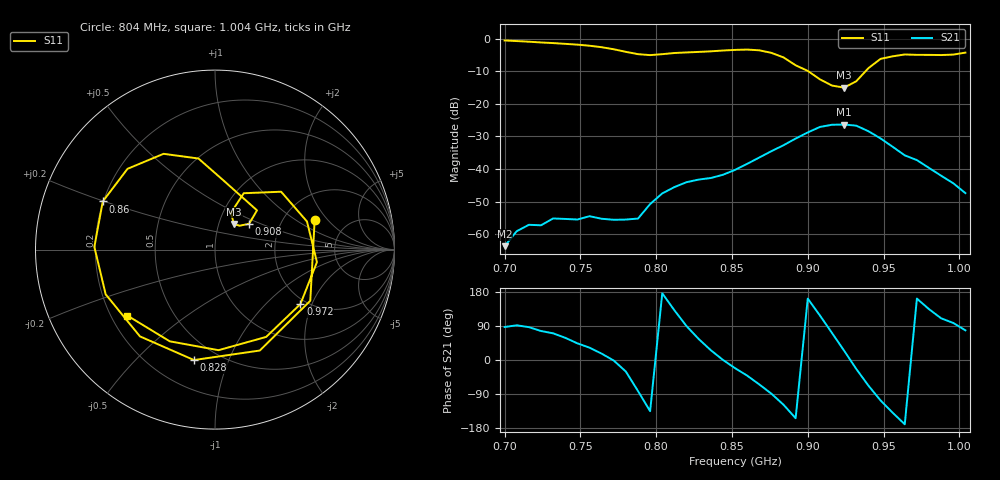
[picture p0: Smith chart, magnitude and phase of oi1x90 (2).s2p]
# Hz S RI R 50
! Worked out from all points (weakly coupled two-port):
!   39 points, 700 MHz to 1.004 GHz, reference 50 ohm
!   highest |S21| = -26.34 dB at 924 MHz (marker M1); lowest = -63.7 dB at 700 MHz (marker M2)
!   lowest |S11| = -15.0 dB at 924 MHz (marker M3), VSWR 1.43, Z = 59.1 + j17.3 ohm
!   |S11| at or under -10 dB: 900.4 MHz to 938.1 MHz (37.77 MHz wide, 4.11 % of centre)
!   S12 and S22 are empty: the file has one direction only
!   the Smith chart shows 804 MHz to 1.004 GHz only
!   S11 on the Smith chart (normalised r, x): 804 MHz: 2.97, +1.45; 828 MHz: 0.37, -0.76; 860 MHz: 0.20, +0.20; 908 MHz: 1.39, +0.42; 972 MHz: 1.86, -1.66; 1.004 GHz: 0.27, -0.31
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7e8  0.756 0.5569  3.3e-05 0.000655  0 0  0 0
7.24e8  0.8403 -0.243  0.000319 0.00133  0 0  0 0
7.4e8  0.457 -0.6962  0.000895 0.00146  0 0  0 0
7.56e8  -0.1875 -0.7564  0.00159 0.00102  0 0  0 0
7.72e8  -0.6595 -0.1963  0.00166 -4.24e-05  0 0  0 0
7.8e8  -0.5877 0.2213  0.00145 -0.000851  0 0  0 0
7.88e8  -0.2438 0.5249  0.000243 -0.00172  0 0  0 0
7.96e8  0.2373 0.5067  -0.00206 -0.00205  0 0  0 0
8.04e8  0.5552 0.1622  -0.00421 0.000299  0 0  0 0
8.2e8  0.2498 -0.5623  4.75e-05 0.00628  0 0  0 0
8.28e8  -0.1173 -0.6154  0.00389 0.00569  0 0  0 0
8.52e8  -0.6722 0.0152  0.00903 -0.00355  0 0  0 0
8.6e8  -0.6252 0.2683  0.00904 -0.0079  0 0  0 0
8.76e8  -0.2867 0.5337  0.000371 -0.0188  0 0  0 0
9e8  0.2341 0.2187  -0.0346 0.0113  0 0  0 0
9.08e8  0.1898 0.1434  -0.0205 0.0392  0 0  0 0
9.24e8  0.1059 0.1422  0.0438 0.02  0 0  0 0
9.48e8  0.3685 0.3224  -0.00843 -0.0283  0 0  0 0
9.56e8  0.5126 0.1564  -0.0166 -0.0144  0 0  0 0
9.72e8  0.476 -0.3035  -0.0131 0.00424  0 0  0 0
9.88e8  0.0195 -0.5604  -0.00271 0.00743  0 0  0 0
1.004e9  -0.4882 -0.3677  0.000865 0.00418  0 0  0 0
